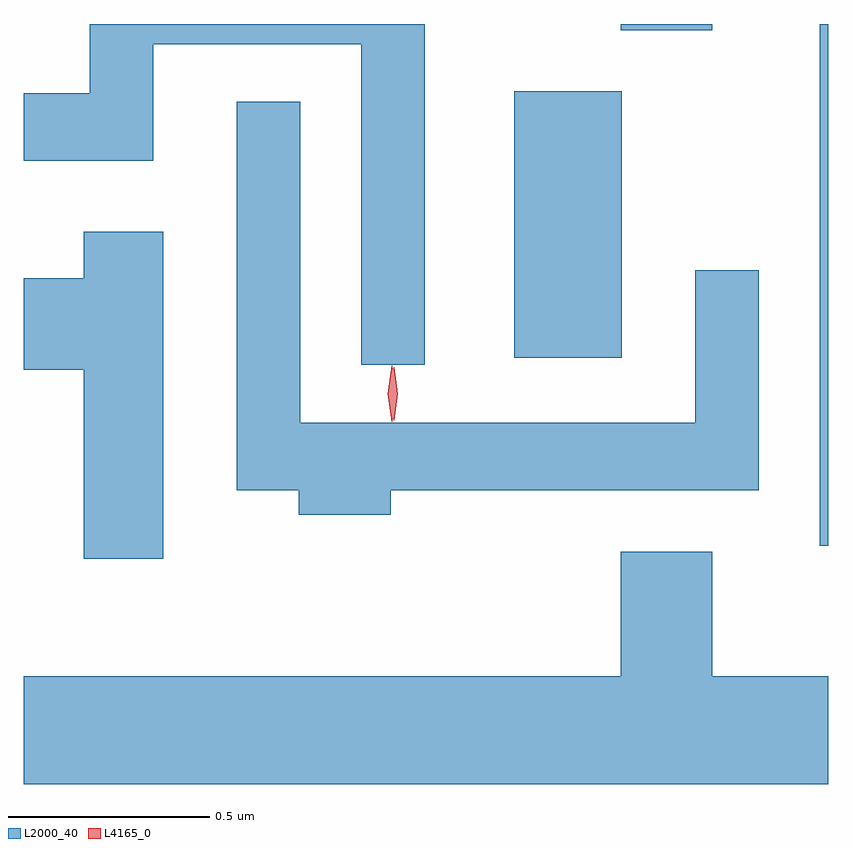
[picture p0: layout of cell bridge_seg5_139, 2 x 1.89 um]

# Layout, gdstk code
import gdstk
lib = gdstk.Library(unit=1e-6, precision=1e-09)
def R(c, l, rs):  # rectangles x0, y0, x1, y1
    for r in rs: c.add(gdstk.rectangle(r[:2], r[2:], *l))
def P(c, l, *ps):  # polygons
    for p in ps: c.add(gdstk.Polygon(p, *l))
L2000_40 = (2000, 40)
L4165_0 = (4165, 0)

bridge_seg5_139 = lib.new_cell('bridge_seg5_139')
R(bridge_seg5_139, L2000_40, [(1220.566,1415.208,1220.587,1416.506), (1219.806,1415.676,1220.074,1416.339), (1220.071,1416.491,1220.299,1416.506)])
P(bridge_seg5_139, L2000_40, [(1219.584,1416.506),(1218.751,1416.506),(1218.751,1416.334),(1218.587,1416.334),(1218.587,1416.166),(1218.909,1416.166),(1218.909,1416.456),(1219.426,1416.456),(1219.426,1415.658),(1219.584,1415.658)],
  [(1219.499,1415.346),(1220.414,1415.346),(1220.414,1415.893),(1220.256,1415.893),(1220.256,1415.514),(1219.274,1415.514),(1219.274,1416.313),(1219.116,1416.313),(1219.116,1415.346),(1219.271,1415.346),(1219.271,1415.286),(1219.499,1415.286)],
  [(1218.934,1415.989),(1218.736,1415.989),(1218.736,1415.874),(1218.587,1415.874),(1218.587,1415.646),(1218.736,1415.646),(1218.736,1415.176),(1218.934,1415.176)],
  [(1220.587,1414.884),(1220.299,1414.884),(1220.299,1415.194),(1220.071,1415.194),(1220.071,1414.884),(1218.587,1414.884),(1218.587,1414.616),(1220.587,1414.616)])
P(bridge_seg5_139, L4165_0, [(1219.507,1415.52),(1219.507,1415.52),(1219.497,1415.586),(1219.507,1415.652),(1219.507,1415.653),(1219.508,1415.652),(1219.517,1415.586),(1219.508,1415.52)],
  [(1219.502,1415.517),(1219.502,1415.517),(1219.492,1415.587),(1219.502,1415.656),(1219.502,1415.656),(1219.503,1415.656),(1219.512,1415.587),(1219.503,1415.517)])

lib.write_gds('bridge_seg5_139.gds')
